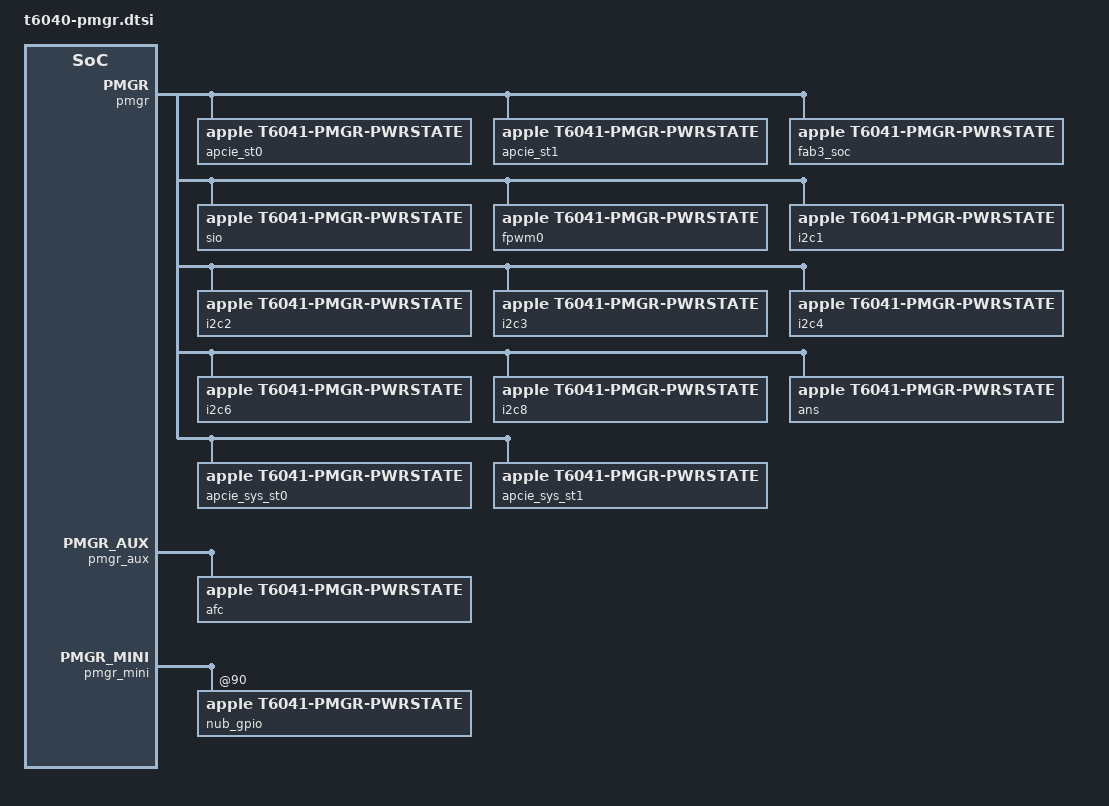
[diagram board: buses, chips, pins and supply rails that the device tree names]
// SPDX-License-Identifier: GPL-2.0+ OR MIT
/*
 * PMGR power domains for the Apple T6040 "M4 Pro" SoC
 *
 * From the J616s ADT /arm-io/pmgr devices and their parents.
 *
 * Copyright The Asahi Linux Contributors
 */

&pmgr {
	ps_apcie_st0: power-controller@108 {
		compatible = "apple,t6041-pmgr-pwrstate", "apple,t8103-pmgr-pwrstate";
		reg = <0x108 4>;
		#power-domain-cells = <0>;
		#reset-cells = <0>;
		label = "apcie_st0";
		apple,always-on;
	};

	ps_apcie_st1: power-controller@110 {
		compatible = "apple,t6041-pmgr-pwrstate", "apple,t8103-pmgr-pwrstate";
		reg = <0x110 4>;
		#power-domain-cells = <0>;
		#reset-cells = <0>;
		label = "apcie_st1";
		apple,always-on;
	};

	ps_fab3_soc: power-controller@118 {
		compatible = "apple,t6041-pmgr-pwrstate", "apple,t8103-pmgr-pwrstate";
		reg = <0x118 4>;
		#power-domain-cells = <0>;
		#reset-cells = <0>;
		label = "fab3_soc";
		power-domains = <&ps_afc>;
		apple,always-on;
	};

	ps_sio: power-controller@120 {
		compatible = "apple,t6041-pmgr-pwrstate", "apple,t8103-pmgr-pwrstate";
		reg = <0x120 4>;
		#power-domain-cells = <0>;
		#reset-cells = <0>;
		label = "sio";
		power-domains = <&ps_fab3_soc>;
		apple,always-on;
	};

	ps_fpwm0: power-controller@138 {
		compatible = "apple,t6041-pmgr-pwrstate", "apple,t8103-pmgr-pwrstate";
		reg = <0x138 4>;
		#power-domain-cells = <0>;
		#reset-cells = <0>;
		label = "fpwm0";
		power-domains = <&ps_sio>;
	};

	ps_i2c1: power-controller@158 {
		compatible = "apple,t6041-pmgr-pwrstate", "apple,t8103-pmgr-pwrstate";
		reg = <0x158 4>;
		#power-domain-cells = <0>;
		#reset-cells = <0>;
		label = "i2c1";
		power-domains = <&ps_sio>;
	};

	ps_i2c2: power-controller@160 {
		compatible = "apple,t6041-pmgr-pwrstate", "apple,t8103-pmgr-pwrstate";
		reg = <0x160 4>;
		#power-domain-cells = <0>;
		#reset-cells = <0>;
		label = "i2c2";
		power-domains = <&ps_sio>;
	};

	ps_i2c3: power-controller@168 {
		compatible = "apple,t6041-pmgr-pwrstate", "apple,t8103-pmgr-pwrstate";
		reg = <0x168 4>;
		#power-domain-cells = <0>;
		#reset-cells = <0>;
		label = "i2c3";
		power-domains = <&ps_sio>;
	};

	ps_i2c4: power-controller@170 {
		compatible = "apple,t6041-pmgr-pwrstate", "apple,t8103-pmgr-pwrstate";
		reg = <0x170 4>;
		#power-domain-cells = <0>;
		#reset-cells = <0>;
		label = "i2c4";
		power-domains = <&ps_sio>;
	};

	ps_i2c6: power-controller@180 {
		compatible = "apple,t6041-pmgr-pwrstate", "apple,t8103-pmgr-pwrstate";
		reg = <0x180 4>;
		#power-domain-cells = <0>;
		#reset-cells = <0>;
		label = "i2c6";
		power-domains = <&ps_sio>;
	};

	ps_i2c8: power-controller@190 {
		compatible = "apple,t6041-pmgr-pwrstate", "apple,t8103-pmgr-pwrstate";
		reg = <0x190 4>;
		#power-domain-cells = <0>;
		#reset-cells = <0>;
		label = "i2c8";
		power-domains = <&ps_sio>;
	};

	ps_ans: power-controller@370 {
		compatible = "apple,t6041-pmgr-pwrstate", "apple,t8103-pmgr-pwrstate";
		reg = <0x370 4>;
		#power-domain-cells = <0>;
		#reset-cells = <0>;
		label = "ans";
		power-domains = <&ps_fab3_soc>;
		apple,always-on;
	};

	ps_apcie_sys_st0: power-controller@380 {
		compatible = "apple,t6041-pmgr-pwrstate", "apple,t8103-pmgr-pwrstate";
		reg = <0x380 4>;
		#power-domain-cells = <0>;
		#reset-cells = <0>;
		label = "apcie_sys_st0";
		power-domains = <&ps_ans>, <&ps_apcie_st0>;
		apple,always-on;
	};

	ps_apcie_sys_st1: power-controller@388 {
		compatible = "apple,t6041-pmgr-pwrstate", "apple,t8103-pmgr-pwrstate";
		reg = <0x388 4>;
		#power-domain-cells = <0>;
		#reset-cells = <0>;
		label = "apcie_sys_st1";
		power-domains = <&ps_ans>, <&ps_apcie_st1>;
		apple,always-on;
	};
};

&pmgr_aux {
	ps_afc: power-controller@178 {
		compatible = "apple,t6041-pmgr-pwrstate", "apple,t8103-pmgr-pwrstate";
		reg = <0x178 4>;
		#power-domain-cells = <0>;
		#reset-cells = <0>;
		label = "afc";
		apple,always-on;
	};
};

&pmgr_mini {
	/* ADT pmgr device NUB_GPIO (0x11a), no parent */
	ps_nub_gpio: power-controller@90 {
		compatible = "apple,t6041-pmgr-pwrstate", "apple,t8103-pmgr-pwrstate";
		reg = <0x90 4>;
		#power-domain-cells = <0>;
		#reset-cells = <0>;
		label = "nub_gpio";
		apple,always-on;
	};
};
